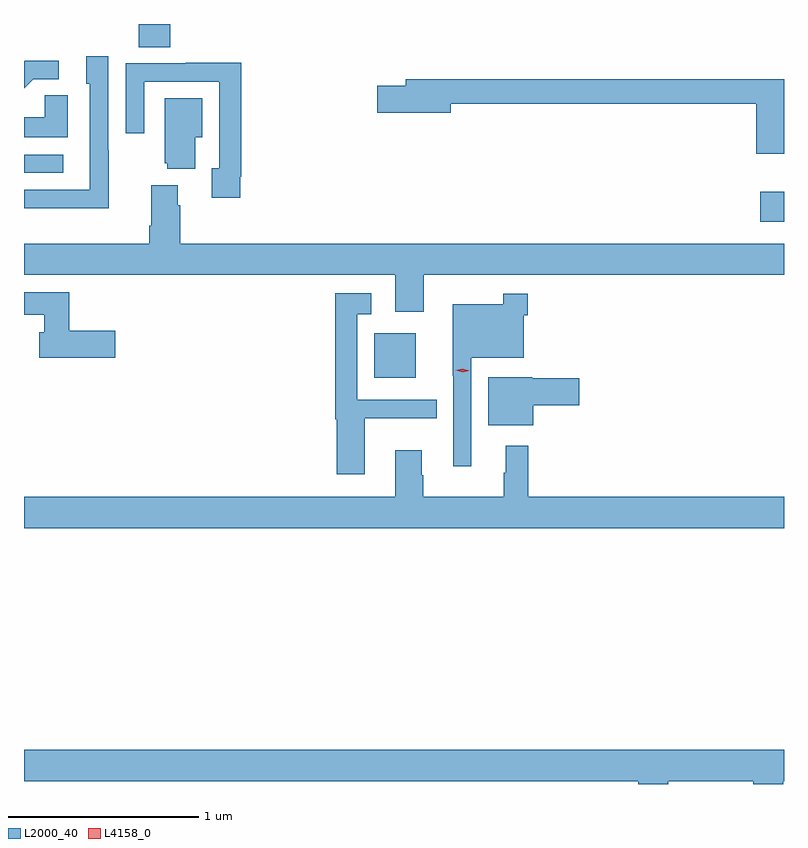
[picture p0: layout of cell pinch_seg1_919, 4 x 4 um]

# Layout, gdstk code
import gdstk
lib = gdstk.Library(unit=1e-6, precision=1e-09)
def R(c, l, rs):  # rectangles x0, y0, x1, y1
    for r in rs: c.add(gdstk.rectangle(r[:2], r[2:], *l))
def P(c, l, *ps):  # polygons
    for p in ps: c.add(gdstk.Polygon(p, *l))
L2000_40 = (2000, 40)
L4158_0 = (4158, 0)

pinch_seg1_919 = lib.new_cell('pinch_seg1_919')
R(pinch_seg1_919, L2000_40, [(196.844,521.888,197.062,522.121), (198.876,522.707,199.001,522.865), (195.001,522.966,195.208,523.062), (195.605,523.627,195.77,523.749)])
P(pinch_seg1_919, L2000_40, [(195.447,523.085),(195.444,523.085),(195.444,523.579),(195.329,523.579),(195.329,523.434),(195.348,523.434),(195.348,522.876),(195.001,522.876),(195.001,522.779),(195.447,522.779)],
  [(195.049,523.458),(195.184,523.458),(195.184,523.556),(195.005,523.556),(195.001,523.552),(195.001,523.41)],
  [(196.138,522.946),(196.145,522.946),(196.145,523.544),(195.853,523.544),(195.853,523.542),(195.537,523.542),(195.537,523.173),(195.633,523.173),(195.633,523.446),(196.029,523.446),(196.029,522.99),(195.989,522.99),(195.989,522.834),(196.138,522.834)],
  [(199.001,523.459),(197.009,523.459),(197.009,523.425),(196.86,523.425),(196.86,523.283),(197.248,523.283),(197.248,523.33),(198.854,523.33),(198.854,523.065),(199.001,523.065)],
  [(195.232,523.373),(195.111,523.373),(195.111,523.258),(195.001,523.258),(195.001,523.154),(195.232,523.154)],
  [(195.901,523.154),(195.94,523.154),(195.94,523.357),(195.743,523.357),(195.743,523.017),(195.755,523.017),(195.755,522.986),(195.901,522.986)],
  [(197.104,522.428),(199.001,522.428),(199.001,522.592),(195.824,522.592),(195.824,522.794),(195.811,522.794),(195.811,522.901),(195.671,522.901),(195.671,522.688),(195.659,522.688),(195.659,522.592),(195.001,522.592),(195.001,522.428),(196.955,522.428),(196.955,522.234),(197.104,522.234)],
  [(195.481,522.135),(195.239,522.135),(195.239,522.336),(195.001,522.336),(195.001,522.22),(195.107,522.22),(195.107,522.127),(195.08,522.127),(195.08,521.993),(195.481,521.993)],
  [(196.795,521.675),(197.174,521.675),(197.174,521.772),(196.755,521.772),(196.755,522.221),(196.828,522.221),(196.828,522.331),(196.639,522.331),(196.639,521.669),(196.646,521.669),(196.646,521.379),(196.795,521.379)],
  [(197.355,521.993),(197.631,521.993),(197.631,522.215),(197.651,522.215),(197.651,522.328),(197.523,522.328),(197.523,522.274),(197.258,522.274),(197.258,521.897),(197.259,521.897),(197.259,521.421),(197.355,521.421)],
  [(197.68,521.743),(197.923,521.743),(197.923,521.885),(197.676,521.885),(197.676,521.89),(197.444,521.89),(197.444,521.636),(197.68,521.636)],
  [(199.001,521.26),(197.654,521.26),(197.654,521.53),(197.537,521.53),(197.537,521.387),(197.526,521.387),(197.526,521.26),(197.103,521.26),(197.103,521.375),(197.095,521.375),(197.095,521.506),(196.955,521.506),(196.955,521.26),(195.001,521.26),(195.001,521.096),(199.001,521.096)],
  [(198.393,519.764),(198.838,519.764),(198.838,519.749),(198.998,519.749),(198.998,519.764),(199.001,519.764),(199.001,519.928),(195.001,519.928),(195.001,519.764),(198.233,519.764),(198.233,519.749),(198.393,519.749)])
P(pinch_seg1_919, L4158_0, [(197.309,521.915),(197.274,521.927),(197.273,521.927),(197.274,521.927),(197.31,521.935),(197.345,521.924),(197.345,521.924),(197.345,521.924)])

lib.write_gds('pinch_seg1_919.gds')
